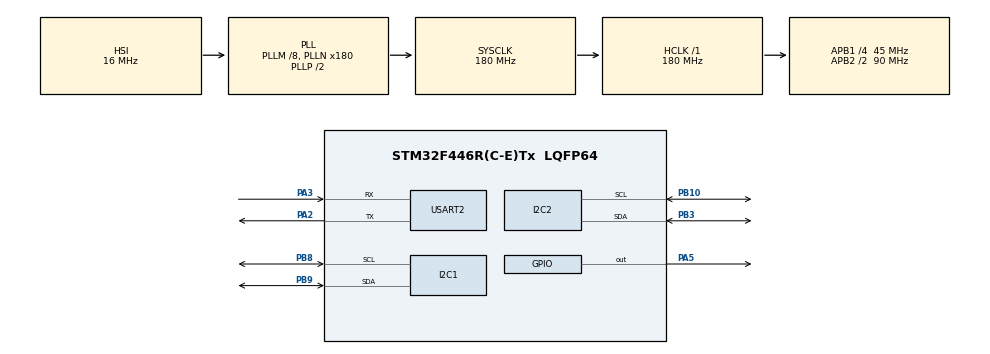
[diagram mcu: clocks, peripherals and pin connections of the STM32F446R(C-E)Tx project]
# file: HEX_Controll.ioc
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I2C1.I2C_Mode=I2C_Fast
I2C2.I2C_Mode=I2C_Fast
Mcu.Family=STM32F4
Mcu.Name=STM32F446R(C-E)Tx
Mcu.Package=LQFP64
NVIC.PriorityGroup=NVIC_PRIORITYGROUP_4
PA2.Mode=Asynchronous
PA2.Signal=USART2_TX
PA3.Mode=Asynchronous
PA3.Signal=USART2_RX
PA5.Signal=GPIO_Output
PB10.Mode=I2C
PB10.Signal=I2C2_SCL
PB3.Mode=I2C
PB3.Signal=I2C2_SDA
PB8.Mode=I2C
PB8.Signal=I2C1_SCL
PB9.Mode=I2C
PB9.Signal=I2C1_SDA
ProjectManager.HeapSize=0x200
ProjectManager.StackSize=0x400
ProjectManager.TargetToolchain=CMake
RCC.AHBFreq_Value=180000000
RCC.APB1CLKDivider=RCC_HCLK_DIV4
RCC.APB1Freq_Value=45000000
RCC.APB1TimFreq_Value=90000000
RCC.APB2CLKDivider=RCC_HCLK_DIV2
RCC.APB2Freq_Value=90000000
RCC.APB2TimFreq_Value=180000000
RCC.CortexFreq_Value=180000000
RCC.HCLKFreq_Value=180000000
RCC.PLLM=8
RCC.PLLN=180
RCC.SYSCLKFreq_VALUE=180000000
RCC.SYSCLKSource=RCC_SYSCLKSOURCE_PLLCLK
RCC.USBFreq_Value=180000000
RCC.VCOOutputFreq_Value=360000000
USART2.VirtualMode=VM_ASYNC
board=custom

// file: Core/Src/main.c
/**
 * @file main.c
 * @brief Główny plik sterujący systemu hexapoda
 *
 * @details
 * System sterowania 6-nożnym robotem hexapod z wykorzystaniem:
 * - 2x kontrolery PCA9685 (I2C1 dla lewych nóg, I2C2 dla prawych)
 * - 18 serw MG996R (3 na każdą nogę: biodro, kolano, kostka)
 * - 3 algorytmy chodu: Tripod (szybki), Bipedal (średni), Wave (stabilny)
 * - Kinematyka odwrotna z weryfikowanymi parametrami z ROS
 *
 * @section hardware_mapping Mapowanie sprzętowe
 *
 * **Kontrolery PCA9685:**
 * - I2C1 (0x40): Lewe nogi 1,3,5 (kanały 0-8)
 * - I2C2 (0x40): Prawe nogi 2,4,6 (kanały 0-8)
 *
 * **Mapowanie nóg:**
 * | Noga | Pozycja | I2C | Kanały | Offset biodra |
 * |------|---------|-----|--------|---------------|
 * | 1 | Lewa przednia | I2C1 | 0-2 | +37.5° |
 * | 2 | Prawa przednia | I2C2 | 0-2 | -37.5° |
 * | 3 | Lewa środkowa | I2C1 | 3-5 | 0° |
 * | 4 | Prawa środkowa | I2C2 | 3-5 | 0° |
 * | 5 | Lewa tylna | I2C1 | 6-8 | -37.5° |
 * | 6 | Prawa tylna | I2C2 | 6-8 | +37.5° |
 *
 * @section gaits_available Dostępne chody
 *
 * **1. Tripod Gait** - Najszybszy
 * - Grupy: A(1,4,5) vs B(2,3,6)
 * - Stabilność: 3 nogi na ziemi
 * - Prędkość: Wysoka
 *
 * **2. Bipedal Gait** - Średni
 * - Pary: (1,4), (2,5), (3,6)
 * - Algorytm: swing pary + stance shift 1/3
 * - Prędkość: Ultra szybka (bez delay)
 *
 * **3. Wave Gait** - Najstabilniejszy
 * - Sekwencja: 1→2→3→4→5→6
 * - Stabilność: 5 nóg zawsze na ziemi
 * - Prędkość: Najwolniejsza ale najbezpieczniejsza
 *
 * @author Hexapod Project Team
 * @date 2025
 * @version 1.0
 *
 * @copyright Copyright (c) 2025 STMicroelectronics. All rights reserved.
 */

/* USER CODE BEGIN Header */
/**
 ******************************************************************************
 * @file           : main.c
 * @brief          : Main program body
 ******************************************************************************
 * @attention
 *
 * Copyright (c) 2025 STMicroelectronics.
 * All rights reserved.
 *
 * This software is licensed under terms that can be found in the LICENSE file
 * in the root directory of this software component.
 * If no LICENSE file comes with this software, it is provided AS-IS.
 *
 ******************************************************************************
 */
/* USER CODE END Header */

#include "main.h"
#include "i2c.h"
#include "usart.h"
#include "gpio.h"

/* USER CODE BEGIN Includes */

#include "pca9685.h"
#include "hexapod_kinematics.h"
#include "test_positions.h"
#include "step_functions.h"
#include "tripod_gait.h"
#include "bipedal_gait.h"
#include "wave_gait.h"

#include <stdio.h>

/* USER CODE END Includes */

/* USER CODE BEGIN PV */

/**
 * @brief Handlery kontrolerów PCA9685
 *
 * @details
 * - pca1: I2C1, adres 0x40, steruje lewymi nogami (1,3,5)
 * - pca2: I2C2, adres 0x40, steruje prawymi nogami (2,4,6)
 */

PCA9685_Handle_t pca1, pca2;

/* USER CODE END PV */

void SystemClock_Config(void);

/* USER CODE BEGIN 0 */

/**
 * @brief Ustaw wszystkie serwa na pozycję neutralną (90°)
 *
 * @details
 * Funkcja testowa ustawiająca wszystkie 18 serw na kąt 90° (pozycja neutralna).
 * Przydatna do:
 * - Weryfikacji komunikacji z kontrolerami PCA9685
 * - Sprawdzenia mechanicznego zakresu ruchu serw
 * - Inicjalnego ustawienia robota przed startem chodów
 *
 * Sekwencja:
 * 1. Ustawienie wszystkich bioder na 90° + delay 1s
 * 2. Ustawienie wszystkich kolan na 90° + delay 1s
 * 3. Ustawienie wszystkich kostek na 90°
 *
 * @param pca1 Wskaźnik na kontroler lewych nóg (I2C1)
 * @param pca2 Wskaźnik na kontroler prawych nóg (I2C2)
 *
 * @note Funkcja nie sprawdza poprawności wskaźników - używać ostrożnie
 * @warning Serwa muszą być zasilone przed wywołaniem funkcji
 */
void setAllto90(PCA9685_Handle_t *pca1, PCA9685_Handle_t *pca2)
{
  // Test wszystkich bioder na 90° (środek przedziału)
  PCA9685_SetServoAngle(pca1, 0, 90.0f); // Noga 1 HIP
  PCA9685_SetServoAngle(pca2, 0, 90.0f); // Noga 2 HIP
  PCA9685_SetServoAngle(pca1, 3, 90.0f); // Noga 3 HIP
  PCA9685_SetServoAngle(pca2, 3, 90.0f); // Noga 4 HIP
  PCA9685_SetServoAngle(pca1, 6, 90.0f); // Noga 5 HIP
  PCA9685_SetServoAngle(pca2, 6, 90.0f); // Noga 6 HIP

  HAL_Delay(1000); // Czekaj 1 sekundę, aby zobaczyć pozycje

  PCA9685_SetServoAngle(pca1, 1, 90.0f); // Noga 1 KNEE
  PCA9685_SetServoAngle(pca2, 1, 90.0f); // Noga 2 KNEE
  PCA9685_SetServoAngle(pca1, 4, 90.0f); // Noga 3 KNEE
  PCA9685_SetServoAngle(pca2, 4, 90.0f); // Noga 4 KNEE
  PCA9685_SetServoAngle(pca1, 7, 90.0f); // Noga 5 KNEE
  PCA9685_SetServoAngle(pca2, 7, 90.0f); // Noga 6 KNEE

  HAL_Delay(1000); // Czekaj 1 sekundę, aby zobaczyć pozycje

  PCA9685_SetServoAngle(pca1, 2, 90.0f); // Noga 1 ANKLE
  PCA9685_SetServoAngle(pca2, 2, 90.0f); // Noga 2 ANKLE
  PCA9685_SetServoAngle(pca1, 5, 90.0f); // Noga 3 ANKLE
  PCA9685_SetServoAngle(pca2, 5, 90.0f); // Noga 4 ANKLE
  PCA9685_SetServoAngle(pca1, 8, 90.0f); // Noga 5 ANKLE
  PCA9685_SetServoAngle(pca2, 8, 90.0f); // Noga 6 ANKLE
}

/**
 * @brief Ustaw wszystkie nogi w pozycję stojącą
 *
 * @details
 * Funkcja ustawia wszystkie nogi w funkcjonalną pozycję stojącą hexapoda:
 * - Biodra: 90° (neutralne, skierowane na boki)
 * - Kolana: 60° (lekko ugięte dla stabilności)
 * - Kostki: 5° (nogi dotykają podłoża)
 *
 * Ta pozycja odpowiada przybliżeniu pozycji bazowej z kinematyki.
 * Wysokość Z około -24cm względem centrum robota.
 *
 * @param pca1 Wskaźnik na kontroler lewych nóg (I2C1)
 * @param pca2 Wskaźnik na kontroler prawych nóg (I2C2)
 *
 * @see base_positions w poszczególnych plikach gait - dokładne pozycje IK
 * @note Funkcja testowa - w normalnej pracy używa się kinematyki odwrotnej
 */
void testStanding(PCA9685_Handle_t *pca1, PCA9685_Handle_t *pca2)
{
  // Test pozycji stojącej
  PCA9685_SetServoAngle(pca1, 0, 90.0f); // Noga 1 HIP
  PCA9685_SetServoAngle(pca2, 0, 90.0f); // Noga 2 HIP
  PCA9685_SetServoAngle(pca1, 3, 90.0f); // Noga 3 HIP
  PCA9685_SetServoAngle(pca2, 3, 90.0f); // Noga 4 HIP
  PCA9685_SetServoAngle(pca1, 6, 90.0f); // Noga 5 HIP
  PCA9685_SetServoAngle(pca2, 6, 90.0f); // Noga 6 HIP

  HAL_Delay(1000); // Czekaj 1 sekundę, aby zobaczyć pozycje

  PCA9685_SetServoAngle(pca1, 1, 60.0f); // Noga 1 KNEE
  PCA9685_SetServoAngle(pca2, 1, 60.0f); // Noga 2 KNEE
  PCA9685_SetServoAngle(pca1, 4, 60.0f); // Noga 3 KNEE
  PCA9685_SetServoAngle(pca2, 4, 60.0f); // Noga 4 KNEE
  PCA9685_SetServoAngle(pca1, 7, 60.0f); // Noga 5 KNEE
  PCA9685_SetServoAngle(pca2, 7, 60.0f); // Noga 6 KNEE

  HAL_Delay(1000); // Czekaj 1 sekundę, aby zobaczyć pozycje

  PCA9685_SetServoAngle(pca1, 2, 5.0f); // Noga 1 ANKLE
  PCA9685_SetServoAngle(pca2, 2, 5.0f); // Noga 2 ANKLE
  PCA9685_SetServoAngle(pca1, 5, 5.0f); // Noga 3 ANKLE
  PCA9685_SetServoAngle(pca2, 5, 5.0f); // Noga 4 ANKLE
  PCA9685_SetServoAngle(pca1, 8, 5.0f); // Noga 5 ANKLE
  PCA9685_SetServoAngle(pca2, 8, 5.0f); // Noga 6 ANKLE
}

/* USER CODE END 0 */

int main(void)
{

  /* MCU Configuration--------------------------------------------------------*/

  /* Reset of all peripherals, Initializes the Flash interface and the Systick. */
  HAL_Init();

  /* Configure the system clock */
  SystemClock_Config();

  /* Initialize all configured peripherals */
  MX_GPIO_Init();
  MX_I2C1_Init();
  MX_I2C2_Init();
  MX_USART2_UART_Init();
  /* USER CODE BEGIN 2 */

  /**
   * @brief Inicjalizacja kontrolera PCA9685 #1 (lewe nogi)
   *
   * @details
   * - I2C1, adres 0x40
   * - Steruje nogami 1,3,5 (kanały 0-8)
   * - W przypadku błędu - miganie LED na pinie PA5
   */
  if (!PCA9685_Init(&pca1, &hi2c1, PCA9685_ADDRESS_1))
  {
    while (1)
    {
      HAL_GPIO_TogglePin(GPIOA, GPIO_PIN_5); // Toggle LED to indicate error
      HAL_Delay(50);
    }
  }

  /**
   * @brief Inicjalizacja kontrolera PCA9685 #2 (prawe nogi)
   *
   * @details
   * - I2C2, adres 0x40
   * - Steruje nogami 2,4,6 (kanały 0-8)
   * - W przypadku błędu - miganie LED na pinie PA5
   */
  if (!PCA9685_Init(&pca2, &hi2c2, PCA9685_ADDRESS_1))
  {
    while (1)
    {
      HAL_GPIO_TogglePin(GPIOA, GPIO_PIN_5); // Toggle LED to indicate error
      HAL_Delay(50);
    }
  }

  /* USER CODE END 2 */

  /* Infinite loop */
  /* USER CODE BEGIN WHILE */
  while (1)
  {

    // testBasicPositions(&pca1, &pca2);

    setAllto90(&pca1, &pca2);   // Ustaw wszystkie serwa na 90°
    HAL_Delay(1000);            // Czekaj 1 sekundę, aby zobaczyć pozycje
    testStanding(&pca1, &pca2); // Test pozycji stojącej
    HAL_Delay(15000);           // Czekaj 1 sekundę, aby zobaczyć pozycje

    tripodGaitWalk(&pca1, &pca2, TRIPOD_FORWARD, 5);
    // bipedalGaitWalk(&pca1, &pca2, BIPEDAL_FORWARD, 3);
    // waveGaitWalk(&pca1, &pca2, WAVE_FORWARD, 3);

    HAL_Delay(15000); // Czekaj 1 sekundę, aby zobaczyć pozycje

    /* USER CODE END WHILE */

  }
}

void SystemClock_Config(void)
{
  RCC_OscInitTypeDef RCC_OscInitStruct = {0};
  RCC_ClkInitTypeDef RCC_ClkInitStruct = {0};

  /** Configure the main internal regulator output voltage
   */
  __HAL_RCC_PWR_CLK_ENABLE();
  __HAL_PWR_VOLTAGESCALING_CONFIG(PWR_REGULATOR_VOLTAGE_SCALE1);

  /** Initializes the RCC Oscillators according to the specified parameters
   * in the RCC_OscInitTypeDef structure.
   */
  RCC_OscInitStruct.OscillatorType = RCC_OSCILLATORTYPE_HSI;
  RCC_OscInitStruct.HSIState = RCC_HSI_ON;
  RCC_OscInitStruct.HSICalibrationValue = RCC_HSICALIBRATION_DEFAULT;
  RCC_OscInitStruct.PLL.PLLState = RCC_PLL_ON;
  RCC_OscInitStruct.PLL.PLLSource = RCC_PLLSOURCE_HSI;
  RCC_OscInitStruct.PLL.PLLM = 8;
  RCC_OscInitStruct.PLL.PLLN = 180;
  RCC_OscInitStruct.PLL.PLLP = RCC_PLLP_DIV2;
  RCC_OscInitStruct.PLL.PLLQ = 2;
  RCC_OscInitStruct.PLL.PLLR = 2;
  if (HAL_RCC_OscConfig(&RCC_OscInitStruct) != HAL_OK)
  {
    Error_Handler();
  }

  /** Activate the Over-Drive mode
   */
  if (HAL_PWREx_EnableOverDrive() != HAL_OK)
  {
    Error_Handler();
  }

  /** Initializes the CPU, AHB and APB buses clocks
   */
  RCC_ClkInitStruct.ClockType = RCC_CLOCKTYPE_HCLK | RCC_CLOCKTYPE_SYSCLK | RCC_CLOCKTYPE_PCLK1 | RCC_CLOCKTYPE_PCLK2;
  RCC_ClkInitStruct.SYSCLKSource = RCC_SYSCLKSOURCE_PLLCLK;
  RCC_ClkInitStruct.AHBCLKDivider = RCC_SYSCLK_DIV1;
  RCC_ClkInitStruct.APB1CLKDivider = RCC_HCLK_DIV4;
  RCC_ClkInitStruct.APB2CLKDivider = RCC_HCLK_DIV2;

  if (HAL_RCC_ClockConfig(&RCC_ClkInitStruct, FLASH_LATENCY_5) != HAL_OK)
  {
    Error_Handler();
  }
}

/* USER CODE BEGIN 4 */

/**
 * @brief Implementacja funkcji _write dla printf() przez UART
 *
 * @details
 * Przekierowuje wyjście printf() na UART2, umożliwiając debug przez port szeregowy.
 * Używa HAL_UART_Transmit() z maksymalnym timeout.
 *
 * @param file Deskryptor pliku (nieużywany)
 * @param ptr Wskaźnik na dane do przesłania
 * @param len Liczba bajtów do przesłania
 * @return Liczba przesłanych bajtów
 *
 * @note Funkcja jest wymagana przez newlib dla obsługi printf()
 * @warning Może blokować program jeśli UART nie jest poprawnie skonfigurowany
 */

int _write(int file, char *ptr, int len)
{
  HAL_UART_Transmit(&huart2, (uint8_t *)ptr, len, HAL_MAX_DELAY);
  return len;
}

/* USER CODE END 4 */

void Error_Handler(void)
{
  __disable_irq();
  while (1)
  {
  }
}
